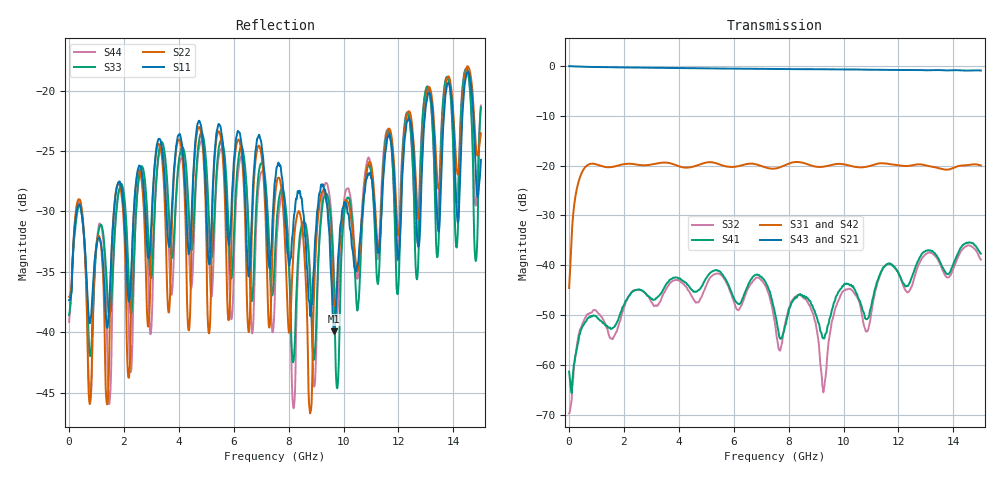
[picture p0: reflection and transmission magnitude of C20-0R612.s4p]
! MARKI MICROWAVE INC.
! Email:  info@markimicrowave.com  Phone:  408-778-4200
! Model Number:  C20-0R612  Date:  10/12
! Filename:		C20_0R612.S4P  Version: 1.0
! Description:  4-port S-parameter data for Directional Coupler C20-0R612
! Frequency Range: 	10 MHz to 15 GHz
! Port Configuration:	PORT 1: Input
!  PORT 2: Output
!  Port 3: Coupled
!  Port 4: Isolated
! S4P File: Measurements: Mag<S11> Ang<S11> Mag<S12> Ang<S12> Mag<S13> Ang<S13> Mag<S14> Ang<S14>! row 1
!  Mag<S21> Ang<S21> Mag<S22> Ang<S22> Mag<S23> Ang<S23> Mag<S24> Ang<S24>! row 2
!  Mag<S31> Ang<S31> Mag<S32> Ang<S32> Mag<S33> Ang<S33> Mag<S34> Ang<S34>! row 3
!  Mag<S41> Ang<S41> Mag<S42> Ang<S42> Mag<S43> Ang<S43> Mag<S44> Ang<S44>! row 4
# Hz S  dB  R 50
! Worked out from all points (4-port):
!   801 points, 10 MHz to 15 GHz, reference 50 ohm
!   strongest paths, dB at 10 MHz, 3.757 GHz, 7.505 GHz, 11.25 GHz, 15 GHz:
!     S43: 0.0, -0.4, -0.6, -0.8, -0.9
!     S21: 0.0, -0.4, -0.6, -0.8, -0.9
!     S31: -44.6, -19.6, -20.6, -19.6, -20.0
!     S42: -44.2, -19.6, -20.6, -19.6, -20.0
!     S41: -61.4, -42.7, -49.6, -43.0, -37.7
!     S32: -69.7, -43.2, -51.7, -43.3, -38.9
!   lowest |S11| = -39.9 dB at 9.66 GHz (marker M1), VSWR 1.02, Z = 49.3 - j0.714 ohm
!   |S11| at or under -10 dB: start of sweep to end of sweep
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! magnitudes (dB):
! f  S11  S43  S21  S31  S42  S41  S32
! 10 MHz  -37.3  0.0  0.0  -44.6  -44.2  -61.4  -69.7
! 740.8 MHz  -39.0  -0.2  -0.2  -19.7  -19.7  -50.4  -49.7
! 4.732 GHz  -22.5  -0.5  -0.5  -19.8  -19.8  -44.9  -47.4
! 5.107 GHz  -34.4  -0.5  -0.5  -19.3  -19.3  -41.8  -42.8
! 5.463 GHz  -22.8  -0.5  -0.5  -19.7  -19.7  -41.1  -41.7
! 9.66 GHz  -39.9  -0.7  -0.7  -19.7  -19.8  -47.4  -49.6
! 15 GHz  -25.7  -0.9  -0.9  -20.0  -20.0  -37.7  -38.9
